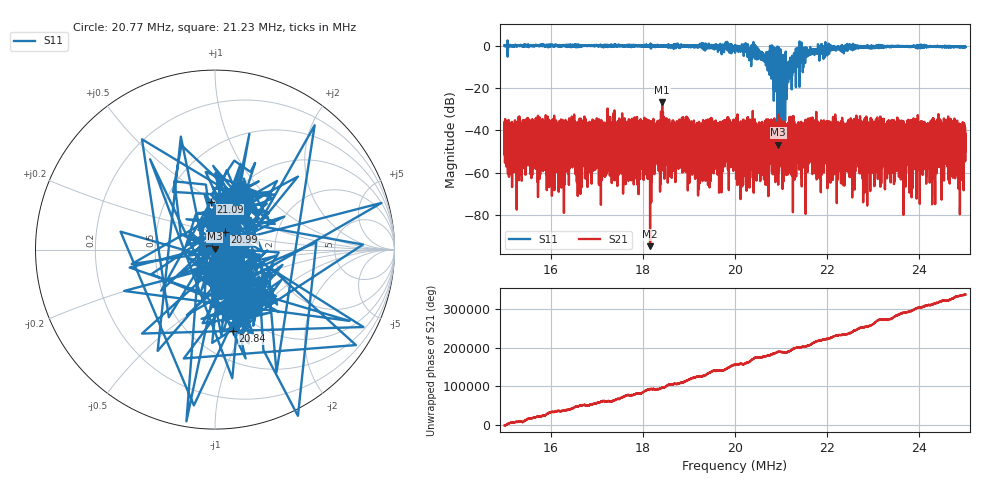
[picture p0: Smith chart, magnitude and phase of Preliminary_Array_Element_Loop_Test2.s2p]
# HZ S RI R 50
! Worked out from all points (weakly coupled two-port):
!   18180 points, 15 MHz to 25 MHz, reference 50 ohm
!   highest |S21| = -26.76 dB at 18.42 MHz (marker M1); lowest = -94.8 dB at 18.16 MHz (marker M2)
!   lowest |S11| = -46.7 dB at 20.94 MHz (marker M3), VSWR 1.01, Z = 49.9 + j0.456 ohm
!   |S11| at or under -10 dB: 20.9607 MHz to 20.98958 MHz (28.88 kHz wide, 0.138 % of centre); 21.04035 MHz to 21.07851 MHz (38.16 kHz wide, 0.181 % of centre); 21.10753 MHz to 21.14943 MHz (41.9 kHz wide, 0.198 % of centre)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
!   S12 and S22 are empty: the file has one direction only
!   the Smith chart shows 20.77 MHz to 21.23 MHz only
!   S11 on the Smith chart (normalised r, x): 20.77 MHz: 1.44, -0.85; 20.84 MHz: 0.77, -0.89; 20.99 MHz: 1.09, +0.21; 21.09 MHz: 0.83, +0.48; 21.23 MHz: 1.08, +0.62
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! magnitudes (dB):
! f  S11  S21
! 15 MHz  0.3  -38.6
! 15.19 MHz  0.0  -52.7
! 15.47 MHz  0.3  -34.7
! 16.67 MHz  0.1  -67.0
! 17.55 MHz  0.1  -41.3
! 18.16 MHz  0.0  -94.8
! 18.33 MHz  0.1  -45.3
! 18.42 MHz  0.1  -26.8
! 20 MHz  0.0  -46.8
! 20.77 MHz  -8.7  -45.6
! 20.84 MHz  -6.7  -43.6
! 20.94 MHz  -46.7  -40.3
! 20.99 MHz  -19.1  -38.7
! 21.09 MHz  -11.4  -41.9
! 21.23 MHz  -10.8  -39.7
! 21.48 MHz  -5.7  -40.0
! 21.67 MHz  -2.8  -42.0
! 21.88 MHz  -2.5  -55.2
! 23.33 MHz  -0.3  -42.5
! 24.56 MHz  -0.3  -41.7
! 24.71 MHz  -0.5  -36.4
! 25 MHz  -0.4  -46.4
